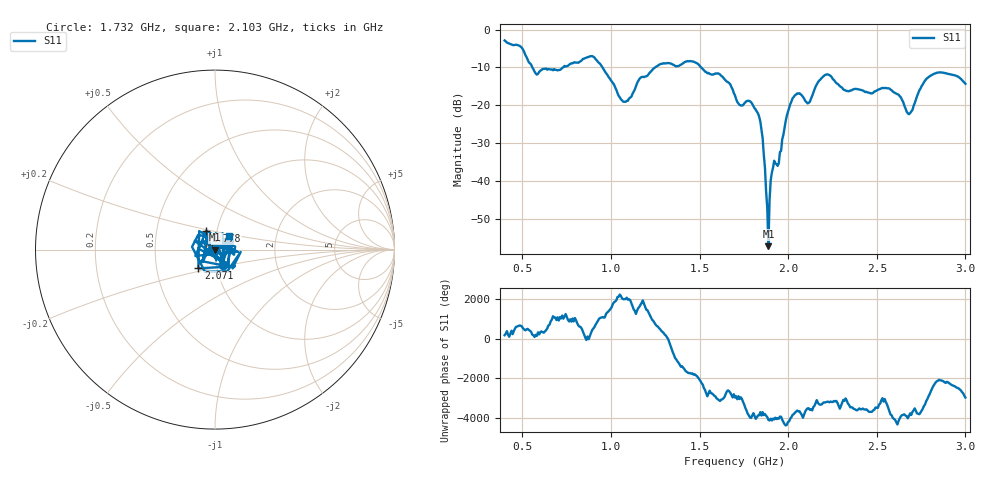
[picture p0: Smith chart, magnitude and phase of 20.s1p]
!Created with skrf (http://scikit-rf.org).
# Hz S RI R 50.0
!freq ReS11 ImS11
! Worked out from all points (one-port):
!   401 points, 400 MHz to 3 GHz, reference 50 ohm
!   lowest |S11| = -57.1 dB at 1.889 GHz (marker M1), VSWR 1.00, Z = 49.9 - j0.129 ohm
!   |S11| at or under -10 dB: 556.7 MHz to 729.5 MHz (172.8 MHz wide, 26.9 % of centre); 952.5 MHz to 1.249 GHz (296.4 MHz wide, 26.9 % of centre); 1.509 GHz to end of sweep
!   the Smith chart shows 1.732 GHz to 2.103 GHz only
!   S11 on the Smith chart (normalised r, x): 1.732 GHz: 1.08, -0.19; 1.778 GHz: 0.89, +0.19; 2.071 GHz: 0.81, -0.17; 2.103 GHz: 1.16, +0.18
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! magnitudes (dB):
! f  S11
! 400 MHz  -2.9
! 491 MHz  -4.5
! 582 MHz  -11.9
! 725 MHz  -10.1
! 900.5 MHz  -7.2
! 1.05 GHz  -17.9
! 1.095 GHz  -18.8
! 1.271 GHz  -9.3
! 1.375 GHz  -9.7
! 1.609 GHz  -11.7
! 1.7 GHz  -17.4
! 1.732 GHz  -20.0
! 1.778 GHz  -18.8
! 1.843 GHz  -24.3
! 1.856 GHz  -28.7
! 1.875 GHz  -42.7
! 1.889 GHz  -57.1
! 1.915 GHz  -36.5
! 1.947 GHz  -35.3
! 2.025 GHz  -18.1
! 2.071 GHz  -17.1
! 2.103 GHz  -19.1
! 2.213 GHz  -11.9
! 2.35 GHz  -16.1
! 2.564 GHz  -15.5
! 2.675 GHz  -22.1
! 2.812 GHz  -11.9
! 3 GHz  -14.3
